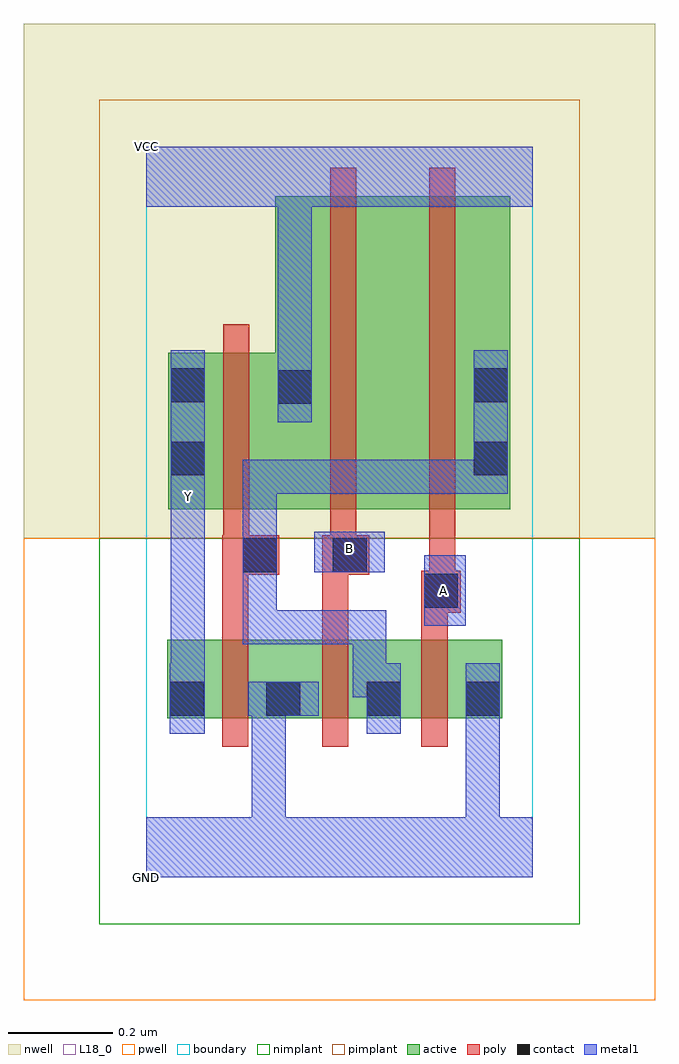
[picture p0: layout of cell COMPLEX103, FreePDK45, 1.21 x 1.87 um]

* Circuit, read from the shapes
.subckt COMPLEX103 A B GND VCC Y
M1 GND n1 Y VSUBS nfet w=0.15u l=0.05u
M2 n1 B GND VSUBS nfet w=0.15u l=0.05u
M3 GND A n1 VSUBS nfet w=0.15u l=0.05u
M4 VCC n1 Y n2 pfet w=0.3u l=0.05u
M5 n3 B VCC n2 pfet w=0.6u l=0.05u
M6 n1 A n3 n2 pfet w=0.6u l=0.05u
.ends

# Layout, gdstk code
import gdstk
lib = gdstk.Library(unit=1e-6, precision=1e-09)
def R(c, l, rs):  # rectangles x0, y0, x1, y1
    for r in rs: c.add(gdstk.rectangle(r[:2], r[2:], *l))
active = (1, 0)
pwell = (2, 0)
nwell = (3, 0)
nimplant = (4, 0)
pimplant = (5, 0)
poly = (9, 0)
contact = (10, 0)
metal1 = (11, 0)
L18_0 = (18, 0)
boundary = (235, 0)

complex103 = lib.new_cell('COMPLEX103')
R(complex103, active, [(0.04,0.305,0.115,0.455), (0.04,0.305,0.3,0.455), (0.225,0.305,0.492,0.455), (0.225,0.305,0.3,0.397), (0.417,0.305,0.492,0.455), (0.417,0.305,0.682,0.455), (0.607,0.305,0.682,0.455), (0.042,0.705,0.322,1.005), (0.042,0.705,0.117,1.005), (0.247,0.705,0.472,1.305), (0.472,0.705,0.697,1.305), (0.622,0.705,0.697,1.2), (0.247,0.74,0.322,1.1)])
R(complex103, pwell, [(-0.235,-0.235,0.975,0.65)])
R(complex103, nwell, [(-0.235,0.65,0.975,1.635)])
R(complex103, nimplant, [(-0.09,-0.09,0.83,0.65)])
R(complex103, pimplant, [(-0.09,0.65,0.83,1.49)])
R(complex103, poly, [(0.145,0.25,0.195,0.51), (0.337,0.25,0.387,0.51), (0.527,0.25,0.577,0.51), (0.145,0.46,0.195,0.63), (0.337,0.46,0.387,0.63), (0.527,0.46,0.577,0.557), (0.527,0.507,0.602,0.587), (0.542,0.537,0.592,0.7), (0.145,0.58,0.255,0.655), (0.337,0.58,0.427,0.655), (0.147,0.605,0.197,0.7), (0.352,0.605,0.402,0.7), (0.147,0.65,0.197,1.06), (0.352,0.65,0.402,1.36), (0.542,0.65,0.592,1.36)])
R(complex103, contact, [(0.045,0.31,0.11,0.375), (0.23,0.31,0.295,0.375), (0.422,0.31,0.487,0.375), (0.612,0.31,0.677,0.375), (0.532,0.517,0.597,0.582), (0.185,0.585,0.25,0.65), (0.357,0.585,0.422,0.65), (0.047,0.77,0.112,0.835), (0.627,0.77,0.692,0.835), (0.252,0.907,0.317,0.972), (0.047,0.91,0.112,0.975), (0.627,0.91,0.692,0.975)])
R(complex103, metal1, [(0,0,0.74,0.115), (0.202,0.05,0.267,0.285), (0.612,0.05,0.677,0.115), (0.612,0.05,0.677,0.115), (0.612,0.05,0.677,0.115), (0.612,0.05,0.677,0.115), (0.612,0.05,0.677,0.28), (0.612,0.215,0.677,0.28), (0.612,0.215,0.677,0.34), (0.202,0.22,0.267,0.285), (0.202,0.22,0.267,0.285), (0.202,0.22,0.267,0.285), (0.202,0.22,0.267,0.375), (0.045,0.275,0.112,0.41), (0.422,0.275,0.487,0.41), (0.612,0.275,0.677,0.41), (0.195,0.31,0.33,0.375), (0.202,0.31,0.267,0.375), (0.202,0.31,0.267,0.375), (0.047,0.345,0.112,0.727), (0.395,0.345,0.487,0.41), (0.395,0.345,0.46,0.512), (0.185,0.447,0.25,0.512), (0.185,0.447,0.46,0.512), (0.185,0.447,0.25,0.685), (0.532,0.482,0.612,0.617), (0.185,0.55,0.25,0.685), (0.322,0.585,0.457,0.662), (0.185,0.62,0.25,0.685), (0.185,0.62,0.25,0.685), (0.185,0.62,0.25,0.8), (0.047,0.662,0.112,0.8), (0.047,0.735,0.112,0.8), (0.047,0.735,0.112,1.01), (0.185,0.735,0.25,0.8), (0.185,0.735,0.39,0.8), (0.325,0.735,0.39,0.8), (0.325,0.735,0.392,0.8), (0.327,0.735,0.392,0.8), (0.327,0.735,0.692,0.8), (0.627,0.735,0.692,0.8), (0.627,0.735,0.692,0.8), (0.627,0.735,0.692,1.01), (0.252,0.872,0.317,1.007), (0.252,0.942,0.317,1.35), (0,1.285,0.74,1.4)])
R(complex103, L18_0, [(0,0,0.74,0.115), (0.202,0.05,0.267,0.285), (0.612,0.05,0.677,0.115), (0.612,0.05,0.677,0.115), (0.612,0.05,0.677,0.115), (0.612,0.05,0.677,0.115), (0.612,0.05,0.677,0.28), (0.612,0.215,0.677,0.28), (0.612,0.215,0.677,0.34), (0.202,0.22,0.267,0.285), (0.202,0.22,0.267,0.285), (0.202,0.22,0.267,0.285), (0.202,0.22,0.267,0.375), (0.045,0.275,0.112,0.41), (0.612,0.275,0.677,0.41), (0.195,0.31,0.33,0.375), (0.202,0.31,0.267,0.375), (0.202,0.31,0.267,0.375), (0.047,0.345,0.112,0.727), (0.532,0.482,0.612,0.617), (0.537,0.517,0.602,0.582), (0.322,0.585,0.457,0.662), (0.357,0.597,0.422,0.662), (0.047,0.662,0.112,0.8), (0.047,0.697,0.112,0.762), (0.047,0.735,0.112,1.01), (0.047,0.735,0.112,0.8), (0.252,0.872,0.317,1.007), (0.252,0.942,0.317,1.35), (0,1.285,0.74,1.4)])
R(complex103, boundary, [(0,0,0.74,1.4)])
complex103.add(gdstk.Label('A', (0.57,0.55), layer=11, texttype=0))
complex103.add(gdstk.Label('B', (0.39,0.63), layer=11, texttype=0))
complex103.add(gdstk.Label('Y', (0.08,0.73), layer=11, texttype=0))
complex103.add(gdstk.Label('VCC', (0,1.4), layer=11, texttype=0))
complex103.add(gdstk.Label('GND', (0,0), layer=11, texttype=0))

lib.write_gds('COMPLEX103.gds')
